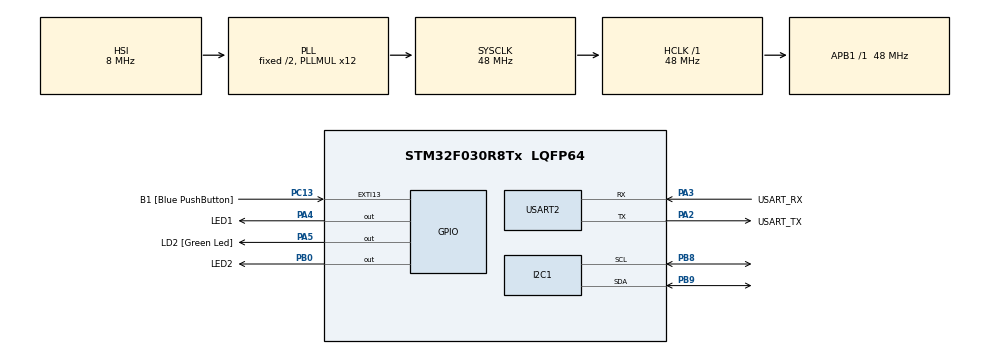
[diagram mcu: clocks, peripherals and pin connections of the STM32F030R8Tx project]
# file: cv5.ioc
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Dma.Request0=USART2_RX
Dma.USART2_RX.0.Direction=DMA_PERIPH_TO_MEMORY
Dma.USART2_RX.0.Instance=DMA1_Channel5
Dma.USART2_RX.0.MemDataAlignment=DMA_MDATAALIGN_BYTE
Dma.USART2_RX.0.MemInc=DMA_MINC_ENABLE
Dma.USART2_RX.0.Mode=DMA_CIRCULAR
Dma.USART2_RX.0.PeriphDataAlignment=DMA_PDATAALIGN_BYTE
Dma.USART2_RX.0.PeriphInc=DMA_PINC_DISABLE
Dma.USART2_RX.0.Priority=DMA_PRIORITY_LOW
Mcu.Family=STM32F0
Mcu.Name=STM32F030R8Tx
Mcu.Package=LQFP64
NVIC.DMA1_Channel4_5_IRQn=true\:0\:0\:false\:false\:true\:false\:true\:true
PA13.GPIO_Label=TMS
PA13.Mode=Serial_Wire
PA13.Signal=SYS_SWDIO
PA14.GPIO_Label=TCK
PA14.Mode=Serial_Wire
PA14.Signal=SYS_SWCLK
PA2.GPIO_Label=USART_TX
PA2.GPIO_Mode=GPIO_MODE_AF_PP
PA2.GPIO_PuPd=GPIO_NOPULL
PA2.GPIO_Speed=GPIO_SPEED_FREQ_LOW
PA2.Mode=Asynchronous
PA2.Signal=USART2_TX
PA3.GPIO_Label=USART_RX
PA3.GPIO_Mode=GPIO_MODE_AF_PP
PA3.GPIO_PuPd=GPIO_NOPULL
PA3.GPIO_Speed=GPIO_SPEED_FREQ_LOW
PA3.Mode=Asynchronous
PA3.Signal=USART2_RX
PA4.GPIO_Label=LED1
PA4.Signal=GPIO_Output
PA5.GPIO_Label=LD2 [Green Led]
PA5.GPIO_Mode=GPIO_MODE_OUTPUT_PP
PA5.GPIO_PuPd=GPIO_NOPULL
PA5.GPIO_Speed=GPIO_SPEED_FREQ_LOW
PA5.Signal=GPIO_Output
PB0.GPIO_Label=LED2
PB0.Signal=GPIO_Output
PB8.Mode=I2C
PB8.Signal=I2C1_SCL
PB9.Mode=I2C
PB9.Signal=I2C1_SDA
PC13.GPIO_Label=B1 [Blue PushButton]
PC13.GPIO_ModeDefaultEXTI=GPIO_MODE_IT_FALLING
PC13.Signal=GPXTI13
PC14-OSC32_IN.Mode=LSE-External-Oscillator
PC14-OSC32_IN.Signal=RCC_OSC32_IN
PC15-OSC32_OUT.Mode=LSE-External-Oscillator
PC15-OSC32_OUT.Signal=RCC_OSC32_OUT
PF0-OSC_IN.Mode=HSE-External-Clock-Source
PF0-OSC_IN.Signal=RCC_OSC_IN
PF1-OSC_OUT.Signal=RCC_OSC_OUT
ProjectManager.HeapSize=0x200
ProjectManager.StackSize=0x400
ProjectManager.TargetToolchain=STM32CubeIDE
RCC.AHBFreq_Value=48000000
RCC.APB1Freq_Value=48000000
RCC.APB1TimFreq_Value=48000000
RCC.HCLKFreq_Value=48000000
RCC.PLLMUL=RCC_PLL_MUL12
RCC.SYSCLKFreq_VALUE=48000000
RCC.SYSCLKSource=RCC_SYSCLKSOURCE_PLLCLK
USART2.VirtualMode-Asynchronous=VM_ASYNC
board=NUCLEO-F030R8

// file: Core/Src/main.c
/* USER CODE BEGIN Header */
/**
  ******************************************************************************
  * @file           : main.c
  * @brief          : Main program body
  ******************************************************************************
  * @attention
  *
  * Copyright (c) 2022 STMicroelectronics.
  * All rights reserved.
  *
  * This software is licensed under terms that can be found in the LICENSE file
  * in the root directory of this software component.
  * If no LICENSE file comes with this software, it is provided AS-IS.
  *
  ******************************************************************************
  */
/* USER CODE END Header */
#include "main.h"

/* USER CODE BEGIN Includes */
#include <stdio.h>
#include <string.h>
#include <stdlib.h>
/* USER CODE END Includes */

/* USER CODE BEGIN PD */
#define RX_BUFFER_LEN 64
#define CMD_BUFFER_LEN 256
#define uart_rx_write_ptr (RX_BUFFER_LEN - hdma_usart2_rx.Instance->CNDTR)
#define EEPROM_ADDR 0xA0
/* USER CODE END PD */

I2C_HandleTypeDef hi2c1;

UART_HandleTypeDef huart2;
DMA_HandleTypeDef hdma_usart2_rx;

/* USER CODE BEGIN PV */
static uint8_t uart_rx_buf[RX_BUFFER_LEN];
static volatile uint16_t uart_rx_read_ptr = 0;
/* USER CODE END PV */

void SystemClock_Config(void);
static void MX_GPIO_Init(void);
static void MX_DMA_Init(void);
static void MX_USART2_UART_Init(void);
static void MX_I2C1_Init(void);

/* USER CODE BEGIN 0 */
int _write(int file, char const *buf, int n){ //rika kam se ma zapisovat
	HAL_UART_Transmit(&huart2, (uint8_t*)(buf), n, HAL_MAX_DELAY);
	return n;
}

static void uart_process_command(char *cmd) {
	printf("Prijato: %s\n", cmd); //funkce pro vlozeni do retezce, ocekava dalsi retezec a novy radek
	char *token;
	token = strtok(cmd, " ");

	if (strcasecmp(token, "HELLO") == 0) { //NULA VYJADRUJE KONEC RETEZCE
		printf("Komunikace OK\n");
	}
	else if (strcasecmp(token, "LED1") == 0) {
		token = strtok(NULL, " ");
		if (strcasecmp(token, "ON") == 0) {
			HAL_GPIO_WritePin(LED1_GPIO_Port, LED1_Pin, 1);
		}
		else if (strcasecmp(token, "OFF") == 0) {
			HAL_GPIO_WritePin(LED1_GPIO_Port, LED1_Pin, 0);
		}
		printf("OK\n");
	}
	else if (strcasecmp(token, "LED2") == 0) {
			token = strtok(NULL, " ");
			if (strcasecmp(token, "ON") == 0) {
				HAL_GPIO_WritePin(LED2_GPIO_Port, LED2_Pin, 1);
			}
			else if (strcasecmp(token, "OFF") == 0) {
				HAL_GPIO_WritePin(LED2_GPIO_Port, LED2_Pin, 0);
			}
			printf("OK\n");
		}
	else if (strcasecmp(token, "STATUS") == 0) {
		if (HAL_GPIO_ReadPin(LED1_GPIO_Port, LED1_Pin) == 1) {
			printf("LED1 is ON\n");
		}
		else {
			printf("LED1 is OFF\n");
		}
		if (HAL_GPIO_ReadPin(LED2_GPIO_Port, LED2_Pin) == 1) {
			printf("LED2 is ON\n");
		}
		else {
			printf("LED2 is OFF\n");
		}
	}
	else if (strcasecmp(token, "READ") == 0) {
		//uint16_t addr;
		uint8_t value;
		token = strtok(NULL, " ");
		uint16_t addr = atoi(token); //prevod str na int
		HAL_I2C_Mem_Read(&hi2c1, EEPROM_ADDR, addr, I2C_MEMADD_SIZE_16BIT, &value, 1, 1000); //& POVOLUJE ZAPIS DO PROMENNE
		printf("Adresa 0x%04x = 0x%02x\n", addr, value);
	}
	else if (strcasecmp(token, "WRITE") == 0) {
			token = strtok(NULL, " ");
			uint16_t addr = atoi(token); //prevod str na int
			token = strtok(NULL, " ");
			uint8_t value = atoi(token); //prevod str na int
			HAL_I2C_Mem_Write(&hi2c1, EEPROM_ADDR, addr, I2C_MEMADD_SIZE_16BIT, &value, 1, 1000);
			/* Check if the EEPROM is ready for a new operation */
			while (HAL_I2C_IsDeviceReady(&hi2c1, EEPROM_ADDR, 300, 1000) == HAL_TIMEOUT) {}
			printf("Hotovo\n");
		}
	else if (strcasecmp(token, "DUMP") == 0) {
		uint8_t value = atoi(token);
		for(uint8_t a = 1; a<=16; a++){
					HAL_I2C_Mem_Read(&hi2c1, EEPROM_ADDR, a, I2C_MEMADD_SIZE_16BIT, &value, 1, 1000);
					printf("%02X\n", value);
		}
		/*
		for(uint8_t a = 7; a<=16; a++){
					HAL_I2C_Mem_Read(&hi2c1, EEPROM_ADDR, a, I2C_MEMADD_SIZE_16BIT, &value, 1, 1000);
					printf("%02X\n", value);
		}
		*/
		/*
		uint8_t a = 1;
		char A = "";
		char AA = "";
		//char x = "";
		while(a<=8){
			HAL_I2C_Mem_Read(&hi2c1, EEPROM_ADDR, a, I2C_MEMADD_SIZE_16BIT, &value, 1, 1000);
			AA = strcat (A, itoa(value, 16));
			a++;
		}
		printf(AA);
		*/
	}
}

static void uart_byte_available(uint8_t c)
{
	static uint16_t cnt;
	static char data[CMD_BUFFER_LEN];
	if (cnt < CMD_BUFFER_LEN && c >= 32 && c <= 126) data[cnt++] = c;
	if ((c == '\n' || c == '\r') && cnt > 0) { //kontrola zda je novy radek
		data[cnt] = '\0'; //na konci retezce musi byt nulovy znak
		uart_process_command(data);
		cnt = 0; //citac se nuluje
	}
}
/* USER CODE END 0 */

int main(void)
{

  /* MCU Configuration--------------------------------------------------------*/

  /* Reset of all peripherals, Initializes the Flash interface and the Systick. */
  HAL_Init();

  /* Configure the system clock */
  SystemClock_Config();

  /* Initialize all configured peripherals */
  MX_GPIO_Init();
  MX_DMA_Init();
  MX_USART2_UART_Init();
  MX_I2C1_Init();
  /* USER CODE BEGIN 2 */
	HAL_UART_Receive_DMA(&huart2, uart_rx_buf, RX_BUFFER_LEN);
  /* USER CODE END 2 */

  /* Infinite loop */
  /* USER CODE BEGIN WHILE */
  while (1)
  {
	  while (uart_rx_read_ptr != uart_rx_write_ptr) {
	  uint8_t b = uart_rx_buf[uart_rx_read_ptr];
	  if (++uart_rx_read_ptr >= RX_BUFFER_LEN) uart_rx_read_ptr = 0; // increase read pointer
	  uart_byte_available(b); // process every received byte with the RX state machine
	  }
    /* USER CODE END WHILE */

  }
}

void SystemClock_Config(void)
{
  RCC_OscInitTypeDef RCC_OscInitStruct = {0};
  RCC_ClkInitTypeDef RCC_ClkInitStruct = {0};
  RCC_PeriphCLKInitTypeDef PeriphClkInit = {0};

  /** Initializes the RCC Oscillators according to the specified parameters
  * in the RCC_OscInitTypeDef structure.
  */
  RCC_OscInitStruct.OscillatorType = RCC_OSCILLATORTYPE_HSI;
  RCC_OscInitStruct.HSIState = RCC_HSI_ON;
  RCC_OscInitStruct.HSICalibrationValue = RCC_HSICALIBRATION_DEFAULT;
  RCC_OscInitStruct.PLL.PLLState = RCC_PLL_ON;
  RCC_OscInitStruct.PLL.PLLSource = RCC_PLLSOURCE_HSI;
  RCC_OscInitStruct.PLL.PLLMUL = RCC_PLL_MUL12;
  RCC_OscInitStruct.PLL.PREDIV = RCC_PREDIV_DIV1;
  if (HAL_RCC_OscConfig(&RCC_OscInitStruct) != HAL_OK)
  {
    Error_Handler();
  }

  /** Initializes the CPU, AHB and APB buses clocks
  */
  RCC_ClkInitStruct.ClockType = RCC_CLOCKTYPE_HCLK|RCC_CLOCKTYPE_SYSCLK
                              |RCC_CLOCKTYPE_PCLK1;
  RCC_ClkInitStruct.SYSCLKSource = RCC_SYSCLKSOURCE_PLLCLK;
  RCC_ClkInitStruct.AHBCLKDivider = RCC_SYSCLK_DIV1;
  RCC_ClkInitStruct.APB1CLKDivider = RCC_HCLK_DIV1;

  if (HAL_RCC_ClockConfig(&RCC_ClkInitStruct, FLASH_LATENCY_1) != HAL_OK)
  {
    Error_Handler();
  }
  PeriphClkInit.PeriphClockSelection = RCC_PERIPHCLK_I2C1;
  PeriphClkInit.I2c1ClockSelection = RCC_I2C1CLKSOURCE_HSI;
  if (HAL_RCCEx_PeriphCLKConfig(&PeriphClkInit) != HAL_OK)
  {
    Error_Handler();
  }
}

static void MX_I2C1_Init(void)
{

  hi2c1.Instance = I2C1;
  hi2c1.Init.Timing = 0x2000090E;
  hi2c1.Init.OwnAddress1 = 0;
  hi2c1.Init.AddressingMode = I2C_ADDRESSINGMODE_7BIT;
  hi2c1.Init.DualAddressMode = I2C_DUALADDRESS_DISABLE;
  hi2c1.Init.OwnAddress2 = 0;
  hi2c1.Init.OwnAddress2Masks = I2C_OA2_NOMASK;
  hi2c1.Init.GeneralCallMode = I2C_GENERALCALL_DISABLE;
  hi2c1.Init.NoStretchMode = I2C_NOSTRETCH_DISABLE;
  if (HAL_I2C_Init(&hi2c1) != HAL_OK)
  {
    Error_Handler();
  }

  /** Configure Analogue filter
  */
  if (HAL_I2CEx_ConfigAnalogFilter(&hi2c1, I2C_ANALOGFILTER_ENABLE) != HAL_OK)
  {
    Error_Handler();
  }

  /** Configure Digital filter
  */
  if (HAL_I2CEx_ConfigDigitalFilter(&hi2c1, 0) != HAL_OK)
  {
    Error_Handler();
  }

}

static void MX_USART2_UART_Init(void)
{

  huart2.Instance = USART2;
  huart2.Init.BaudRate = 38400;
  huart2.Init.WordLength = UART_WORDLENGTH_8B;
  huart2.Init.StopBits = UART_STOPBITS_1;
  huart2.Init.Parity = UART_PARITY_NONE;
  huart2.Init.Mode = UART_MODE_TX_RX;
  huart2.Init.HwFlowCtl = UART_HWCONTROL_NONE;
  huart2.Init.OverSampling = UART_OVERSAMPLING_16;
  huart2.Init.OneBitSampling = UART_ONE_BIT_SAMPLE_DISABLE;
  huart2.AdvancedInit.AdvFeatureInit = UART_ADVFEATURE_NO_INIT;
  if (HAL_UART_Init(&huart2) != HAL_OK)
  {
    Error_Handler();
  }

}

static void MX_DMA_Init(void)
{

  /* DMA controller clock enable */
  __HAL_RCC_DMA1_CLK_ENABLE();

  /* DMA interrupt init */
  /* DMA1_Channel4_5_IRQn interrupt configuration */
  HAL_NVIC_SetPriority(DMA1_Channel4_5_IRQn, 0, 0);
  HAL_NVIC_EnableIRQ(DMA1_Channel4_5_IRQn);

}

static void MX_GPIO_Init(void)
{
  GPIO_InitTypeDef GPIO_InitStruct = {0};

  /* GPIO Ports Clock Enable */
  __HAL_RCC_GPIOC_CLK_ENABLE();
  __HAL_RCC_GPIOF_CLK_ENABLE();
  __HAL_RCC_GPIOA_CLK_ENABLE();
  __HAL_RCC_GPIOB_CLK_ENABLE();

  /*Configure GPIO pin Output Level */
  HAL_GPIO_WritePin(GPIOA, GPIO_PIN_4|GPIO_PIN_5, GPIO_PIN_RESET);

  /*Configure GPIO pin Output Level */
  HAL_GPIO_WritePin(GPIOB, GPIO_PIN_0, GPIO_PIN_RESET);

  /*Configure GPIO pin : PC13 */
  GPIO_InitStruct.Pin = GPIO_PIN_13;
  GPIO_InitStruct.Mode = GPIO_MODE_IT_FALLING;
  GPIO_InitStruct.Pull = GPIO_NOPULL;
  HAL_GPIO_Init(GPIOC, &GPIO_InitStruct);

  /*Configure GPIO pins : PA4 PA5 */
  GPIO_InitStruct.Pin = GPIO_PIN_4|GPIO_PIN_5;
  GPIO_InitStruct.Mode = GPIO_MODE_OUTPUT_PP;
  GPIO_InitStruct.Pull = GPIO_NOPULL;
  GPIO_InitStruct.Speed = GPIO_SPEED_FREQ_LOW;
  HAL_GPIO_Init(GPIOA, &GPIO_InitStruct);

  /*Configure GPIO pin : PB0 */
  GPIO_InitStruct.Pin = GPIO_PIN_0;
  GPIO_InitStruct.Mode = GPIO_MODE_OUTPUT_PP;
  GPIO_InitStruct.Pull = GPIO_NOPULL;
  GPIO_InitStruct.Speed = GPIO_SPEED_FREQ_LOW;
  HAL_GPIO_Init(GPIOB, &GPIO_InitStruct);

}

void Error_Handler(void)
{
  __disable_irq();
  while (1)
  {
  }
}
